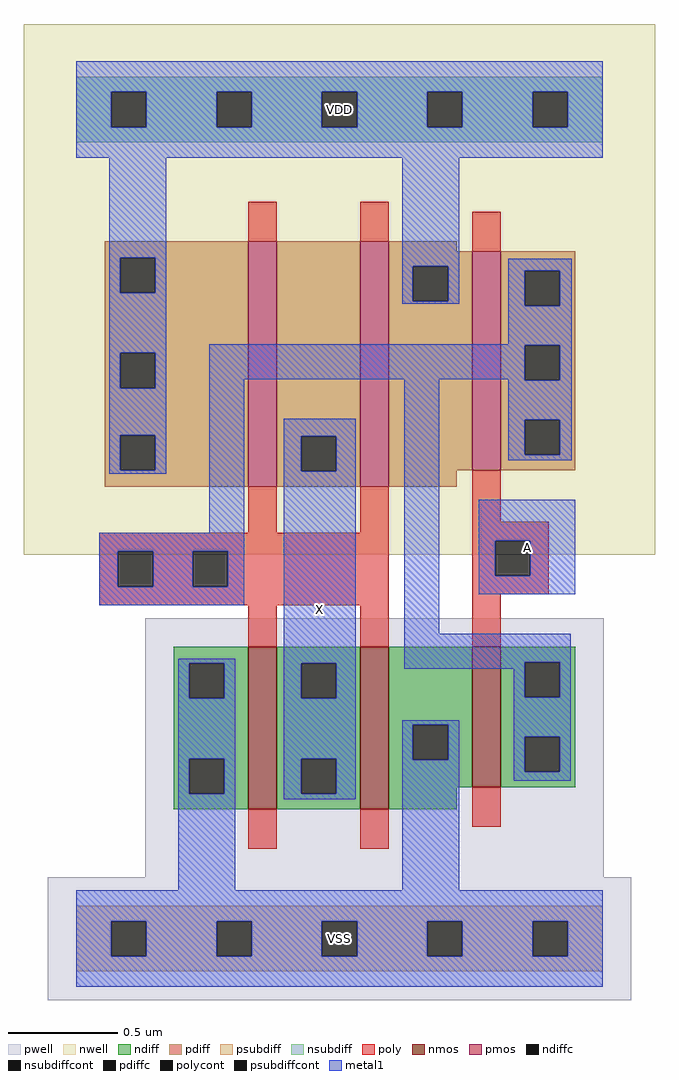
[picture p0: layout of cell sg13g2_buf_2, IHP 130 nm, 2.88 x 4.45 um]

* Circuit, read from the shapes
.subckt sg13g2_buf_2 VSS VDD X A
XM1 X n1 VSS VSS sg13_lv_nmos w=0.74u l=0.13u m=2
XM2 n1 A VSS VSS sg13_lv_nmos w=0.64u l=0.13u
XM3 X n1 VDD VDD sg13_lv_pmos w=1.12u l=0.13u m=2
XM4 n1 A VDD VDD sg13_lv_pmos w=1u l=0.13u
.ends

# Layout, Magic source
magic
tech ihp-sg13g2
magscale 1 2
<< nwell >>
rect -48 350 528 834
<< pwell >>
rect 63 56 481 292
rect -26 -56 506 56
<< nmos >>
rect 157 118 183 266
rect 259 118 285 266
rect 361 138 387 266
<< pmos >>
rect 157 412 183 636
rect 259 412 285 636
rect 361 427 387 627
<< ndiff >>
rect 89 251 157 266
rect 89 219 103 251
rect 135 219 157 251
rect 89 164 157 219
rect 89 132 103 164
rect 135 132 157 164
rect 89 118 157 132
rect 183 251 259 266
rect 183 219 205 251
rect 237 219 259 251
rect 183 164 259 219
rect 183 132 205 164
rect 237 132 259 164
rect 183 118 259 132
rect 285 195 361 266
rect 285 163 307 195
rect 339 163 361 195
rect 285 138 361 163
rect 387 252 455 266
rect 387 220 409 252
rect 441 220 455 252
rect 387 184 455 220
rect 387 152 409 184
rect 441 152 455 184
rect 387 138 455 152
rect 285 118 347 138
<< pdiff >>
rect 26 621 157 636
rect 26 589 40 621
rect 72 589 157 621
rect 26 534 157 589
rect 26 502 40 534
rect 72 502 157 534
rect 26 459 157 502
rect 26 427 40 459
rect 72 427 157 459
rect 26 412 157 427
rect 183 458 259 636
rect 183 426 205 458
rect 237 426 259 458
rect 183 412 259 426
rect 285 627 347 636
rect 285 613 361 627
rect 285 581 307 613
rect 339 581 361 613
rect 285 427 361 581
rect 387 609 455 627
rect 387 577 409 609
rect 441 577 455 609
rect 387 541 455 577
rect 387 509 409 541
rect 441 509 455 541
rect 387 473 455 509
rect 387 441 409 473
rect 441 441 455 473
rect 387 427 455 441
rect 285 412 347 427
<< ndiffc >>
rect 103 219 135 251
rect 103 132 135 164
rect 205 219 237 251
rect 205 132 237 164
rect 307 163 339 195
rect 409 220 441 252
rect 409 152 441 184
<< pdiffc >>
rect 40 589 72 621
rect 40 502 72 534
rect 40 427 72 459
rect 205 426 237 458
rect 307 581 339 613
rect 409 577 441 609
rect 409 509 441 541
rect 409 441 441 473
<< psubdiff >>
rect 0 16 480 30
rect 0 -16 32 16
rect 64 -16 128 16
rect 160 -16 224 16
rect 256 -16 320 16
rect 352 -16 416 16
rect 448 -16 480 16
rect 0 -30 480 -16
<< nsubdiff >>
rect 0 772 480 786
rect 0 740 32 772
rect 64 740 128 772
rect 160 740 224 772
rect 256 740 320 772
rect 352 740 416 772
rect 448 740 480 772
rect 0 726 480 740
<< psubdiffcont >>
rect 32 -16 64 16
rect 128 -16 160 16
rect 224 -16 256 16
rect 320 -16 352 16
rect 416 -16 448 16
<< nsubdiffcont >>
rect 32 740 64 772
rect 128 740 160 772
rect 224 740 256 772
rect 320 740 352 772
rect 416 740 448 772
<< poly >>
rect 157 636 183 672
rect 259 636 285 672
rect 361 627 387 663
rect 157 370 183 412
rect 259 370 285 412
rect 21 353 285 370
rect 21 321 38 353
rect 70 321 106 353
rect 138 321 285 353
rect 21 304 285 321
rect 157 266 183 304
rect 259 266 285 304
rect 361 380 387 427
rect 361 363 431 380
rect 361 331 382 363
rect 414 331 431 363
rect 361 314 431 331
rect 361 266 387 314
rect 157 82 183 118
rect 259 82 285 118
rect 361 102 387 138
<< polycont >>
rect 38 321 70 353
rect 106 321 138 353
rect 382 331 414 363
<< metal1 >>
rect 0 772 480 800
rect 0 740 32 772
rect 64 740 128 772
rect 160 740 224 772
rect 256 740 320 772
rect 352 740 416 772
rect 448 740 480 772
rect 0 712 480 740
rect 30 621 82 712
rect 30 589 40 621
rect 72 589 82 621
rect 30 534 82 589
rect 297 613 349 712
rect 297 581 307 613
rect 339 581 349 613
rect 297 579 349 581
rect 394 609 452 620
rect 394 577 409 609
rect 441 577 452 609
rect 394 542 452 577
rect 30 502 40 534
rect 72 502 82 534
rect 30 459 82 502
rect 30 427 40 459
rect 72 427 82 459
rect 30 424 82 427
rect 121 541 452 542
rect 121 510 409 541
rect 121 370 153 510
rect 21 353 153 370
rect 21 321 38 353
rect 70 321 106 353
rect 138 321 153 353
rect 21 304 153 321
rect 189 458 255 474
rect 189 426 205 458
rect 237 426 255 458
rect 93 251 145 255
rect 93 219 103 251
rect 135 219 145 251
rect 93 164 145 219
rect 93 132 103 164
rect 135 132 145 164
rect 93 44 145 132
rect 189 251 255 426
rect 189 219 205 251
rect 237 219 255 251
rect 299 278 331 510
rect 394 509 409 510
rect 441 509 452 541
rect 394 473 452 509
rect 394 441 409 473
rect 441 441 452 473
rect 394 436 452 441
rect 367 363 455 400
rect 367 331 382 363
rect 414 331 455 363
rect 367 314 455 331
rect 299 252 451 278
rect 299 246 409 252
rect 189 164 255 219
rect 399 220 409 246
rect 441 220 451 252
rect 189 132 205 164
rect 237 132 255 164
rect 189 127 255 132
rect 297 195 349 199
rect 297 163 307 195
rect 339 163 349 195
rect 297 44 349 163
rect 399 184 451 220
rect 399 152 409 184
rect 441 152 451 184
rect 399 144 451 152
rect 0 16 480 44
rect 0 -16 32 16
rect 64 -16 128 16
rect 160 -16 224 16
rect 256 -16 320 16
rect 352 -16 416 16
rect 448 -16 480 16
rect 0 -44 480 -16
<< labels >>
flabel metal1 s 0 -44 480 44 0 FreeSans 400 0 0 0 VSS
port 2 nsew
flabel metal1 s 0 712 480 800 0 FreeSans 400 0 0 0 VDD
port 3 nsew
flabel metal1 s 189 127 255 474 0 FreeSans 400 0 0 0 X
port 4 nsew
flabel metal1 s 367 314 455 400 0 FreeSans 400 0 0 0 A
port 5 nsew
<< properties >>
string FIXED_BBOX 0 0 480 756
string GDS_END 69828
string GDS_FILE ../gds/controller.gds
string GDS_START 65532
<< end >>
